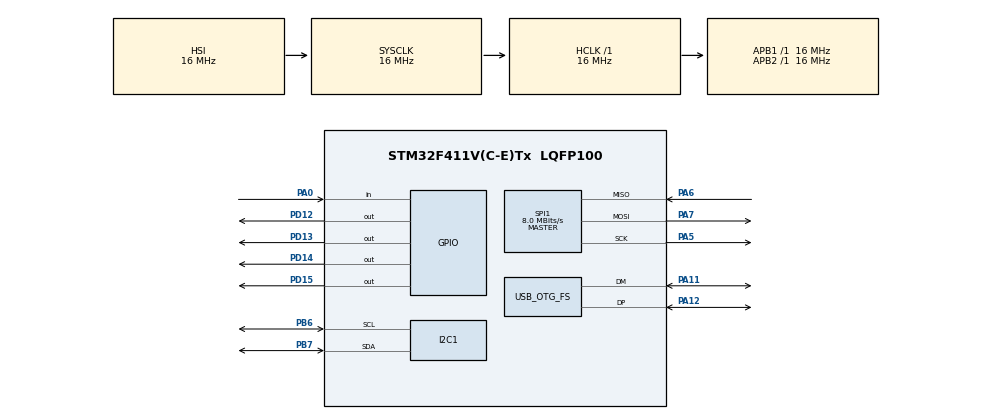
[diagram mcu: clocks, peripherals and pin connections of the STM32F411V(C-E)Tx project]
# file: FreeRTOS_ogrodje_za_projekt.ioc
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FREERTOS.Tasks01=defaultTask,24,128,StartDefaultTask,Default,NULL,Dynamic,NULL,NULL
FREERTOS.configUSE_NEWLIB_REENTRANT=1
I2C1.DutyCycle=I2C_DUTYCYCLE_16_9
I2C1.I2C_Mode=I2C_Fast
Mcu.Family=STM32F4
Mcu.Name=STM32F411V(C-E)Tx
Mcu.Package=LQFP100
NVIC.OTG_FS_IRQn=true\:5\:0\:false\:false\:true\:true\:false\:true\:true
NVIC.PriorityGroup=NVIC_PRIORITYGROUP_4
NVIC.TIM2_IRQn=true\:15\:0\:false\:false\:true\:false\:false\:true\:true
NVIC.TimeBase=TIM2_IRQn
NVIC.TimeBaseIP=TIM2
PA0-WKUP.Signal=GPIO_Input
PA11.Mode=Device_Only
PA11.Signal=USB_OTG_FS_DM
PA12.Mode=Device_Only
PA12.Signal=USB_OTG_FS_DP
PA5.Mode=Full_Duplex_Master
PA5.Signal=SPI1_SCK
PA6.Mode=Full_Duplex_Master
PA6.Signal=SPI1_MISO
PA7.Mode=Full_Duplex_Master
PA7.Signal=SPI1_MOSI
PB6.Mode=I2C
PB6.Signal=I2C1_SCL
PB7.Mode=I2C
PB7.Signal=I2C1_SDA
PC14-OSC32_IN.Mode=LSE-External-Oscillator
PC14-OSC32_IN.Signal=RCC_OSC32_IN
PC15-OSC32_OUT.Mode=LSE-External-Oscillator
PC15-OSC32_OUT.Signal=RCC_OSC32_OUT
PD12.Signal=GPIO_Output
PD13.Signal=GPIO_Output
PD14.Signal=GPIO_Output
PD15.Signal=GPIO_Output
PH0\ -\ OSC_IN.Mode=HSE-External-Oscillator
PH0\ -\ OSC_IN.Signal=RCC_OSC_IN
PH1\ -\ OSC_OUT.Mode=HSE-External-Oscillator
PH1\ -\ OSC_OUT.Signal=RCC_OSC_OUT
ProjectManager.HeapSize=0x200
ProjectManager.StackSize=0x400
ProjectManager.TargetToolchain=STM32CubeIDE
RCC.AHBFreq_Value=16000000
RCC.APB1Freq_Value=16000000
RCC.APB2Freq_Value=16000000
RCC.CortexFreq_Value=16000000
RCC.HSE_VALUE=25000000
RCC.HSI_VALUE=16000000
RCC.PLLSourceVirtualString=RCC_PLLSOURCE_HSI
RCC.SYSCLKFreq_VALUE=16000000
RCC.VCOOutputFreq_Value=192000000
SPI1.CalculateBaudRate=8.0 MBits/s
SPI1.Direction=SPI_DIRECTION_2LINES
SPI1.Mode=SPI_MODE_MASTER
SPI1.VirtualType=VM_MASTER
USB_DEVICE.CLASS_NAME_FS=CDC
USB_DEVICE.PRODUCT_STRING_CDC_FS=STM_projekt
USB_DEVICE.VirtualMode=Cdc
USB_DEVICE.VirtualModeFS=Cdc_FS
USB_OTG_FS.VirtualMode=Device_Only
VP_FREERTOS_VS_CMSIS_V2.Mode=CMSIS_V2
VP_SYS_VS_tim2.Mode=TIM2
VP_USB_DEVICE_VS_USB_DEVICE_CDC_FS.Mode=CDC_FS
board=custom

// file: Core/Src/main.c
/* USER CODE BEGIN Header */
/**
  ******************************************************************************
  * @file           : main.c
  * @brief          : Main program body
  ******************************************************************************
  * @attention
  *
  * Copyright (c) 2025 STMicroelectronics.
  * All rights reserved.
  *
  * This software is licensed under terms that can be found in the LICENSE file
  * in the root directory of this software component.
  * If no LICENSE file comes with this software, it is provided AS-IS.
  *
  ******************************************************************************
  */
/* USER CODE END Header */
#include "main.h"
#include "cmsis_os.h"
#include "usb_device.h"

/* USER CODE BEGIN Includes */
#include "FreeRTOS.h"
#include <stdbool.h>
/* USER CODE END Includes */

I2C_HandleTypeDef hi2c1;

SPI_HandleTypeDef hspi1;

/* Definitions for defaultTask */
osThreadId_t defaultTaskHandle;
const osThreadAttr_t defaultTask_attributes = {
  .name = "defaultTask",
  .stack_size = 128 * 4,
  .priority = (osPriority_t) osPriorityNormal,
};
/* USER CODE BEGIN PV */

TaskHandle_t Opravilo_LEDHandle;
TaskHandle_t Opravilo_pospeskometerHandle;

/* USER CODE END PV */

void SystemClock_Config(void);
static void MX_GPIO_Init(void);
static void MX_I2C1_Init(void);
static void MX_SPI1_Init(void);
void StartDefaultTask(void *argument);

/* USER CODE BEGIN PFP */

void Opravilo_LED(void *argument);				// GPIO prizig LED diode ob prejetju signala
void Opravilo_pospeskometer(void *argument);	// periodicno branje pospeskometra

/* USER CODE END PFP */

int main(void)
{

  /* MCU Configuration--------------------------------------------------------*/

  /* Reset of all peripherals, Initializes the Flash interface and the Systick. */
  HAL_Init();

  /* Configure the system clock */
  SystemClock_Config();

  /* Initialize all configured peripherals */
  MX_GPIO_Init();
  MX_I2C1_Init();
  MX_SPI1_Init();

  /* Init scheduler */
  osKernelInitialize();

  /* USER CODE BEGIN RTOS_QUEUES */
  /* add queues, ... */

  xTaskCreate(Opravilo_LED, "Opravilo LED", 128, NULL, 2, &Opravilo_LEDHandle);
  xTaskCreate(Opravilo_pospeskometer, "Opravilo pospeskometer", 128, NULL, 1, &Opravilo_pospeskometerHandle);

  xTaskCreate(CDC_ReceiveTask, "CDC Receive", 256, NULL, 2, NULL);
  xTaskCreate(CDC_TransmitTask, "CDC Send", 256, NULL, 2, NULL);

  /* Start Scheduler */
  vTaskStartScheduler();

  /* USER CODE END RTOS_QUEUES */

  /* Create the thread(s) */
  /* creation of defaultTask */
  //defaultTaskHandle = osThreadNew(StartDefaultTask, NULL, &defaultTask_attributes);

  /* Start scheduler */
  osKernelStart();

  /* We should never get here as control is now taken by the scheduler */

  /* Infinite loop */
  while (1)
  {

  }
}

void SystemClock_Config(void)
{
  RCC_OscInitTypeDef RCC_OscInitStruct = {0};
  RCC_ClkInitTypeDef RCC_ClkInitStruct = {0};

  /** Configure the main internal regulator output voltage
  */
  __HAL_RCC_PWR_CLK_ENABLE();
  __HAL_PWR_VOLTAGESCALING_CONFIG(PWR_REGULATOR_VOLTAGE_SCALE1);

  /** Initializes the RCC Oscillators according to the specified parameters
  * in the RCC_OscInitTypeDef structure.
  */
  RCC_OscInitStruct.OscillatorType = RCC_OSCILLATORTYPE_HSI;
  RCC_OscInitStruct.HSIState = RCC_HSI_ON;
  RCC_OscInitStruct.HSICalibrationValue = RCC_HSICALIBRATION_DEFAULT;
  RCC_OscInitStruct.PLL.PLLState = RCC_PLL_ON;
  RCC_OscInitStruct.PLL.PLLSource = RCC_PLLSOURCE_HSI;
  RCC_OscInitStruct.PLL.PLLM = 16;
  RCC_OscInitStruct.PLL.PLLN = 192;
  RCC_OscInitStruct.PLL.PLLP = RCC_PLLP_DIV2;
  RCC_OscInitStruct.PLL.PLLQ = 4;
  if (HAL_RCC_OscConfig(&RCC_OscInitStruct) != HAL_OK)
  {
    Error_Handler();
  }

  /** Initializes the CPU, AHB and APB buses clocks
  */
  RCC_ClkInitStruct.ClockType = RCC_CLOCKTYPE_HCLK|RCC_CLOCKTYPE_SYSCLK
                              |RCC_CLOCKTYPE_PCLK1|RCC_CLOCKTYPE_PCLK2;
  RCC_ClkInitStruct.SYSCLKSource = RCC_SYSCLKSOURCE_HSI;
  RCC_ClkInitStruct.AHBCLKDivider = RCC_SYSCLK_DIV1;
  RCC_ClkInitStruct.APB1CLKDivider = RCC_HCLK_DIV1;
  RCC_ClkInitStruct.APB2CLKDivider = RCC_HCLK_DIV1;

  if (HAL_RCC_ClockConfig(&RCC_ClkInitStruct, FLASH_LATENCY_0) != HAL_OK)
  {
    Error_Handler();
  }
}

static void MX_I2C1_Init(void)
{

  hi2c1.Instance = I2C1;
  hi2c1.Init.ClockSpeed = 400000;
  hi2c1.Init.DutyCycle = I2C_DUTYCYCLE_16_9;
  hi2c1.Init.OwnAddress1 = 0;
  hi2c1.Init.AddressingMode = I2C_ADDRESSINGMODE_7BIT;
  hi2c1.Init.DualAddressMode = I2C_DUALADDRESS_DISABLE;
  hi2c1.Init.OwnAddress2 = 0;
  hi2c1.Init.GeneralCallMode = I2C_GENERALCALL_DISABLE;
  hi2c1.Init.NoStretchMode = I2C_NOSTRETCH_DISABLE;
  if (HAL_I2C_Init(&hi2c1) != HAL_OK)
  {
    Error_Handler();
  }

}

static void MX_SPI1_Init(void)
{

  /* SPI1 parameter configuration*/
  hspi1.Instance = SPI1;
  hspi1.Init.Mode = SPI_MODE_MASTER;
  hspi1.Init.Direction = SPI_DIRECTION_2LINES;
  hspi1.Init.DataSize = SPI_DATASIZE_8BIT;
  hspi1.Init.CLKPolarity = SPI_POLARITY_LOW;
  hspi1.Init.CLKPhase = SPI_PHASE_1EDGE;
  hspi1.Init.NSS = SPI_NSS_SOFT;
  hspi1.Init.BaudRatePrescaler = SPI_BAUDRATEPRESCALER_2;
  hspi1.Init.FirstBit = SPI_FIRSTBIT_MSB;
  hspi1.Init.TIMode = SPI_TIMODE_DISABLE;
  hspi1.Init.CRCCalculation = SPI_CRCCALCULATION_DISABLE;
  hspi1.Init.CRCPolynomial = 10;
  if (HAL_SPI_Init(&hspi1) != HAL_OK)
  {
    Error_Handler();
  }

}

static void MX_GPIO_Init(void)
{
  GPIO_InitTypeDef GPIO_InitStruct = {0};

  /* GPIO Ports Clock Enable */
  __HAL_RCC_GPIOC_CLK_ENABLE();
  __HAL_RCC_GPIOH_CLK_ENABLE();
  __HAL_RCC_GPIOA_CLK_ENABLE();
  __HAL_RCC_GPIOD_CLK_ENABLE();
  __HAL_RCC_GPIOB_CLK_ENABLE();

  /*Configure GPIO pin Output Level */
  HAL_GPIO_WritePin(GPIOD, GPIO_PIN_12|GPIO_PIN_13|GPIO_PIN_14|GPIO_PIN_15, GPIO_PIN_RESET);

  /*Configure GPIO pin : PA0 */
  GPIO_InitStruct.Pin = GPIO_PIN_0;
  GPIO_InitStruct.Mode = GPIO_MODE_INPUT;
  GPIO_InitStruct.Pull = GPIO_NOPULL;
  HAL_GPIO_Init(GPIOA, &GPIO_InitStruct);

  /*Configure GPIO pins : PD12 PD13 PD14 PD15 */
  GPIO_InitStruct.Pin = GPIO_PIN_12|GPIO_PIN_13|GPIO_PIN_14|GPIO_PIN_15;
  GPIO_InitStruct.Mode = GPIO_MODE_OUTPUT_PP;
  GPIO_InitStruct.Pull = GPIO_NOPULL;
  GPIO_InitStruct.Speed = GPIO_SPEED_FREQ_LOW;
  HAL_GPIO_Init(GPIOD, &GPIO_InitStruct);

}

/* USER CODE BEGIN 4 */

void Opravilo_LED(void *argument)
{
// TODO: integriranje implementacije
}

void Opravilo_pospeskometer(void *argument)
{
// TODO: integriranje implementacije
}

void CDC_ReceiveTask(void *argument)
{
    uint8_t rxBuffer[64];  // Buffer za prejete podatke
    uint32_t len;

    for (;;)
    {
        // Pocakamo da se podatki prejmejo
        if (CDC_Receive_FS(rxBuffer, &len) == USBD_OK)
        {
            // Pocakamo da se podatki prejmejo
            xQueueSend(cdcRxQueue, rxBuffer, portMAX_DELAY);
        }

        vTaskDelay(pdMS_TO_TICKS(10)); // Majhna zakasnitev
    }
}

void CDC_TransmitTask(void *argument)
{
    uint8_t txBuffer[64];  // Budder za podatke za posiljanje

    for (;;)
    {
        // Pocakajmo da se podatki posljejo
        if (xQueueReceive(cdcTxQueue, txBuffer, portMAX_DELAY) == pdPASS)
        {
            // Posiljanje preko CDC
            CDC_Transmit_FS(txBuffer, strlen((char *)txBuffer));
        }

        vTaskDelay(pdMS_TO_TICKS(10)); // Majhna zakasnitev
    }
}

/* USER CODE END 4 */

void StartDefaultTask(void *argument)
{
  /* init code for USB_DEVICE */
  MX_USB_DEVICE_Init();
  for(;;)
  {
    osDelay(1);
  }
}

void HAL_TIM_PeriodElapsedCallback(TIM_HandleTypeDef *htim)
{
  if (htim->Instance == TIM2) {
    HAL_IncTick();
  }
}

void Error_Handler(void)
{
  __disable_irq();
  while (1)
  {
  }
}
